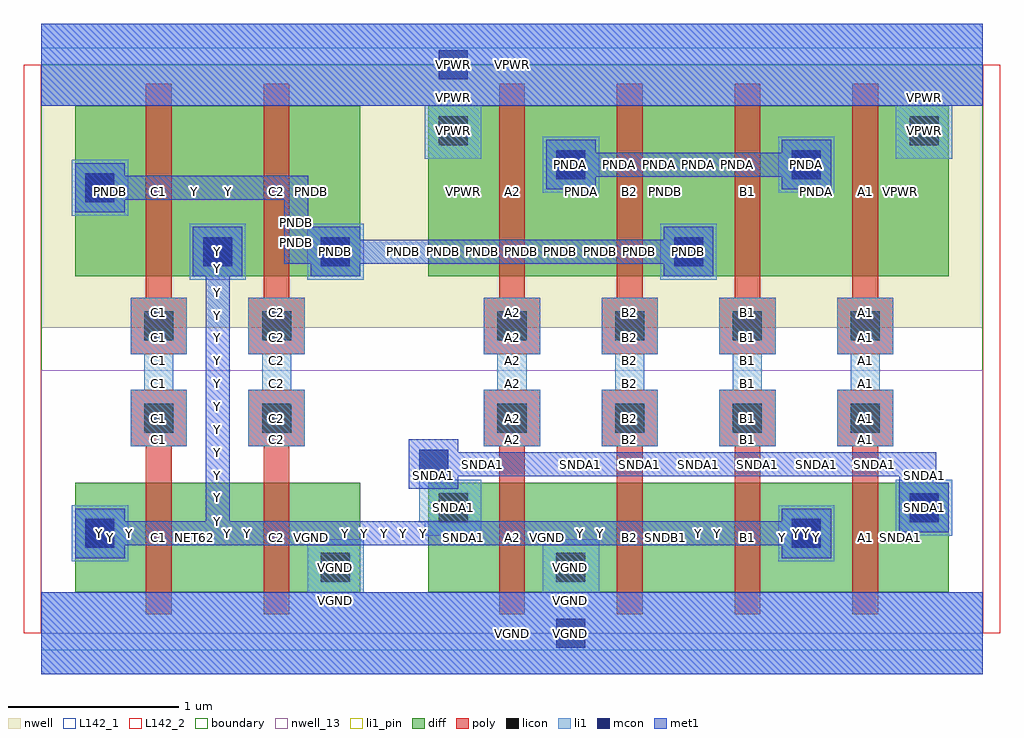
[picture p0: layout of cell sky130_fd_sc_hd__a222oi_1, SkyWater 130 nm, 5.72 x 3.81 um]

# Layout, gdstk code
import gdstk
lib = gdstk.Library(unit=1e-6, precision=1e-09)
def R(c, l, rs):  # rectangles x0, y0, x1, y1
    for r in rs: c.add(gdstk.rectangle(r[:2], r[2:], *l))
def A(c, l, x, y, w, h, nx, ny, dx, dy):  # array of equal rectangles
    R(c, l, [(x+i*dx, y+j*dy, x+i*dx+w, y+j*dy+h) for i in range(nx) for j in range(ny)])
def P(c, l, *ps):  # polygons
    for p in ps: c.add(gdstk.Polygon(p, *l))
nwell_13 = (64, 13)
nwell = (64, 20)
diff = (65, 20)
poly = (66, 20)
licon = (66, 44)
li1_pin = (67, 16)
li1 = (67, 20)
mcon = (67, 44)
met1 = (68, 20)
L142_1 = (142, 1)
L142_2 = (142, 2)
boundary = (235, 4)

sky130_fd_sc_hd__a222oi_ = lib.new_cell('sky130_fd_sc_hd__a222oi_1')
R(sky130_fd_sc_hd__a222oi_, nwell_13, [(0,0,5.52,1.54)])
R(sky130_fd_sc_hd__a222oi_, nwell, [(0,1.79,5.52,3.33)])
A(sky130_fd_sc_hd__a222oi_, diff, 2.685, 0.24, 0.69, 0.64, 3, 1, 0.69, 0)
A(sky130_fd_sc_hd__a222oi_, diff, 2.685, 2.09, 0.69, 1, 3, 1, 0.69, 0)
R(sky130_fd_sc_hd__a222oi_, diff, [(0.2,0.24,1.87,0.88), (0.2,0.24,0.615,0.88), (0.615,0.24,1.305,0.88), (1.305,0.24,1.87,0.88), (2.27,0.24,5.32,0.88), (2.27,0.24,2.685,0.88), (4.755,0.24,5.32,0.88), (0.2,2.09,1.87,3.09), (0.2,2.09,0.615,3.09), (0.615,2.09,1.305,3.09), (1.305,2.09,1.87,3.09), (2.27,2.09,5.32,3.09), (2.27,2.09,2.685,3.09), (4.755,2.09,5.32,3.09)])
P(sky130_fd_sc_hd__a222oi_, poly, [(3.375,0.11),(3.375,1.095),(3.285,1.095),(3.285,1.425),(3.615,1.425),(3.615,1.095),(3.525,1.095),(3.525,0.11)],
  [(3.285,1.635),(3.285,1.965),(3.375,1.965),(3.375,3.22),(3.525,3.22),(3.525,1.965),(3.615,1.965),(3.615,1.635)],
  [(2.685,0.11),(2.685,1.095),(2.595,1.095),(2.595,1.425),(2.925,1.425),(2.925,1.095),(2.835,1.095),(2.835,0.11)],
  [(2.595,1.635),(2.595,1.965),(2.685,1.965),(2.685,3.22),(2.835,3.22),(2.835,1.965),(2.925,1.965),(2.925,1.635)],
  [(1.305,0.11),(1.305,1.095),(1.215,1.095),(1.215,1.425),(1.545,1.425),(1.545,1.095),(1.455,1.095),(1.455,0.11)],
  [(1.215,1.635),(1.215,1.965),(1.305,1.965),(1.305,3.22),(1.455,3.22),(1.455,1.965),(1.545,1.965),(1.545,1.635)],
  [(4.755,0.11),(4.755,1.095),(4.665,1.095),(4.665,1.425),(4.995,1.425),(4.995,1.095),(4.905,1.095),(4.905,0.11)],
  [(4.665,1.635),(4.665,1.965),(4.755,1.965),(4.755,3.22),(4.905,3.22),(4.905,1.965),(4.995,1.965),(4.995,1.635)],
  [(0.615,0.11),(0.615,1.095),(0.525,1.095),(0.525,1.425),(0.855,1.425),(0.855,1.095),(0.765,1.095),(0.765,0.11)],
  [(0.525,1.635),(0.525,1.965),(0.615,1.965),(0.615,3.22),(0.765,3.22),(0.765,1.965),(0.855,1.965),(0.855,1.635)],
  [(4.065,0.11),(4.065,1.095),(3.975,1.095),(3.975,1.425),(4.305,1.425),(4.305,1.095),(4.215,1.095),(4.215,0.11)],
  [(3.975,1.635),(3.975,1.965),(4.065,1.965),(4.065,3.22),(4.215,3.22),(4.215,1.965),(4.305,1.965),(4.305,1.635)])
A(sky130_fd_sc_hd__a222oi_, licon, 2.675, 1.175, 0.17, 0.17, 4, 2, 0.69, 0.54)
R(sky130_fd_sc_hd__a222oi_, licon, [(1.64,0.3,1.81,0.47), (3.02,0.3,3.19,0.47), (0.26,0.5,0.43,0.67), (4.4,0.5,4.57,0.67), (2.33,0.65,2.5,0.82), (5.09,0.65,5.26,0.82), (0.605,1.175,0.775,1.345), (1.295,1.175,1.465,1.345), (0.605,1.715,0.775,1.885), (1.295,1.715,1.465,1.885), (0.95,2.15,1.12,2.32), (1.64,2.15,1.81,2.32), (3.71,2.15,3.88,2.32), (0.26,2.525,0.43,2.695), (3.02,2.66,3.19,2.83), (4.4,2.66,4.57,2.83), (2.33,2.86,2.5,3.03), (5.09,2.86,5.26,3.03)])
R(sky130_fd_sc_hd__a222oi_, li1_pin, [(0,-0.24,5.52,0.24), (0.18,0.42,0.51,0.75), (0,3.09,5.52,3.57)])
P(sky130_fd_sc_hd__a222oi_, li1_pin, [(3.285,1.095),(3.285,1.425),(3.365,1.425),(3.365,1.635),(3.285,1.635),(3.285,1.965),(3.615,1.965),(3.615,1.635),(3.535,1.635),(3.535,1.425),(3.615,1.425),(3.615,1.095)],
  [(2.595,1.095),(2.595,1.425),(2.675,1.425),(2.675,1.635),(2.595,1.635),(2.595,1.965),(2.925,1.965),(2.925,1.635),(2.845,1.635),(2.845,1.425),(2.925,1.425),(2.925,1.095)],
  [(4.665,1.095),(4.665,1.425),(4.745,1.425),(4.745,1.635),(4.665,1.635),(4.665,1.965),(4.995,1.965),(4.995,1.635),(4.915,1.635),(4.915,1.425),(4.995,1.425),(4.995,1.095)],
  [(0.525,1.095),(0.525,1.425),(0.605,1.425),(0.605,1.635),(0.525,1.635),(0.525,1.965),(0.855,1.965),(0.855,1.635),(0.775,1.635),(0.775,1.425),(0.855,1.425),(0.855,1.095)],
  [(3.975,1.095),(3.975,1.425),(4.055,1.425),(4.055,1.635),(3.975,1.635),(3.975,1.965),(4.305,1.965),(4.305,1.635),(4.225,1.635),(4.225,1.425),(4.305,1.425),(4.305,1.095)],
  [(1.215,1.095),(1.215,1.425),(1.295,1.425),(1.295,1.635),(1.215,1.635),(1.215,1.965),(1.545,1.965),(1.545,1.635),(1.465,1.635),(1.465,1.425),(1.545,1.425),(1.545,1.095)])
R(sky130_fd_sc_hd__a222oi_, li1, [(0.18,0.42,0.51,0.75), (4.32,0.42,4.65,0.75), (5.01,0.57,5.34,0.9), (0.87,2.07,1.2,2.4), (1.56,2.07,1.89,2.4), (3.63,2.07,3.96,2.4), (0.18,2.445,0.51,2.775), (2.94,2.58,3.27,2.91), (4.32,2.58,4.65,2.91)])
P(sky130_fd_sc_hd__a222oi_, li1, [(3.285,1.095),(3.285,1.425),(3.365,1.425),(3.365,1.635),(3.285,1.635),(3.285,1.965),(3.615,1.965),(3.615,1.635),(3.535,1.635),(3.535,1.425),(3.615,1.425),(3.615,1.095)],
  [(2.595,1.095),(2.595,1.425),(2.675,1.425),(2.675,1.635),(2.595,1.635),(2.595,1.965),(2.925,1.965),(2.925,1.635),(2.845,1.635),(2.845,1.425),(2.925,1.425),(2.925,1.095)],
  [(1.215,1.095),(1.215,1.425),(1.295,1.425),(1.295,1.635),(1.215,1.635),(1.215,1.965),(1.545,1.965),(1.545,1.635),(1.465,1.635),(1.465,1.425),(1.545,1.425),(1.545,1.095)],
  [(2.25,2.78),(2.25,3.09),(0,3.09),(0,3.57),(5.52,3.57),(5.52,3.09),(5.34,3.09),(5.34,2.78),(5.01,2.78),(5.01,3.09),(2.58,3.09),(2.58,2.78)],
  [(4.665,1.095),(4.665,1.425),(4.745,1.425),(4.745,1.635),(4.665,1.635),(4.665,1.965),(4.995,1.965),(4.995,1.635),(4.915,1.635),(4.915,1.425),(4.995,1.425),(4.995,1.095)],
  [(2.25,0.57),(2.25,0.65),(2.215,0.65),(2.215,1.075),(2.385,1.075),(2.385,0.9),(2.58,0.9),(2.58,0.57)],
  [(0,-0.24),(0,0.24),(1.56,0.24),(1.56,0.55),(1.89,0.55),(1.89,0.24),(2.94,0.24),(2.94,0.55),(3.27,0.55),(3.27,0.24),(5.52,0.24),(5.52,-0.24)],
  [(0.525,1.095),(0.525,1.425),(0.605,1.425),(0.605,1.635),(0.525,1.635),(0.525,1.965),(0.855,1.965),(0.855,1.635),(0.775,1.635),(0.775,1.425),(0.855,1.425),(0.855,1.095)],
  [(3.975,1.095),(3.975,1.425),(4.055,1.425),(4.055,1.635),(3.975,1.635),(3.975,1.965),(4.305,1.965),(4.305,1.635),(4.225,1.635),(4.225,1.425),(4.305,1.425),(4.305,1.095)])
R(sky130_fd_sc_hd__a222oi_, mcon, [(3.02,-0.085,3.19,0.085), (0.26,0.5,0.43,0.67), (4.4,0.5,4.57,0.67), (5.09,0.65,5.26,0.82), (2.215,0.905,2.385,1.075), (0.95,2.15,1.12,2.32), (1.64,2.15,1.81,2.32), (3.71,2.15,3.88,2.32), (0.26,2.525,0.43,2.695), (3.02,2.66,3.19,2.83), (4.4,2.66,4.57,2.83), (2.33,3.245,2.5,3.415)])
R(sky130_fd_sc_hd__a222oi_, met1, [(0,-0.24,5.52,0.24), (5.03,0.88,5.105,0.92), (1.565,2.305,1.58,2.38), (0,3.09,5.52,3.57)])
P(sky130_fd_sc_hd__a222oi_, met1, [(0.2,0.44),(0.2,0.73),(0.49,0.73),(0.49,0.655),(0.965,0.655),(0.965,2.09),(0.89,2.09),(0.89,2.38),(1.18,2.38),(1.18,2.09),(1.105,2.09),(1.105,0.655),(4.34,0.655),(4.34,0.73),(4.63,0.73),(4.63,0.44),(4.34,0.44),(4.34,0.515),(0.49,0.515),(0.49,0.44)],
  [(5.03,0.59),(5.03,0.88),(5.105,0.88),(5.105,0.92),(2.445,0.92),(2.445,0.845),(2.155,0.845),(2.155,1.135),(2.445,1.135),(2.445,1.06),(5.245,1.06),(5.245,0.88),(5.32,0.88),(5.32,0.59)],
  [(1.58,2.09),(1.58,2.165),(1.425,2.165),(1.425,2.54),(0.49,2.54),(0.49,2.465),(0.2,2.465),(0.2,2.755),(0.49,2.755),(0.49,2.68),(1.565,2.68),(1.565,2.305),(1.58,2.305),(1.58,2.38),(1.87,2.38),(1.87,2.305),(3.65,2.305),(3.65,2.38),(3.94,2.38),(3.94,2.09),(3.65,2.09),(3.65,2.165),(1.87,2.165),(1.87,2.09)],
  [(2.96,2.6),(2.96,2.89),(3.25,2.89),(3.25,2.815),(4.34,2.815),(4.34,2.89),(4.63,2.89),(4.63,2.6),(4.34,2.6),(4.34,2.675),(3.25,2.675),(3.25,2.6)])
R(sky130_fd_sc_hd__a222oi_, L142_1, [(0,-0.1,5.52,0), (0,3.33,5.52,3.43)])
R(sky130_fd_sc_hd__a222oi_, L142_2, [(-0.1,0,0,3.33), (5.52,0,5.62,3.33)])
R(sky130_fd_sc_hd__a222oi_, boundary, [(0,0,5.52,3.33)])
sky130_fd_sc_hd__a222oi_.add(gdstk.Label('Y', (4.547,0.56), layer=65, texttype=20))
sky130_fd_sc_hd__a222oi_.add(gdstk.Label('SNDA1', (5.037,0.56), layer=65, texttype=20))
sky130_fd_sc_hd__a222oi_.add(gdstk.Label('Y', (0.407,0.56), layer=65, texttype=20))
sky130_fd_sc_hd__a222oi_.add(gdstk.Label('NET62', (0.897,0.56), layer=65, texttype=20))
sky130_fd_sc_hd__a222oi_.add(gdstk.Label('SNDA1', (2.477,0.56), layer=65, texttype=20))
sky130_fd_sc_hd__a222oi_.add(gdstk.Label('VGND', (2.967,0.56), layer=65, texttype=20))
sky130_fd_sc_hd__a222oi_.add(gdstk.Label('VGND', (3.167,0.56), layer=65, texttype=20))
sky130_fd_sc_hd__a222oi_.add(gdstk.Label('SNDB1', (3.657,0.56), layer=65, texttype=20))
sky130_fd_sc_hd__a222oi_.add(gdstk.Label('SNDB1', (3.857,0.56), layer=65, texttype=20))
sky130_fd_sc_hd__a222oi_.add(gdstk.Label('Y', (4.347,0.56), layer=65, texttype=20))
sky130_fd_sc_hd__a222oi_.add(gdstk.Label('NET62', (1.097,0.56), layer=65, texttype=20))
sky130_fd_sc_hd__a222oi_.add(gdstk.Label('VGND', (1.587,0.56), layer=65, texttype=20))
sky130_fd_sc_hd__a222oi_.add(gdstk.Label('Y', (4.547,0.56), layer=65, texttype=20))
sky130_fd_sc_hd__a222oi_.add(gdstk.Label('SNDA1', (5.037,0.56), layer=65, texttype=20))
sky130_fd_sc_hd__a222oi_.add(gdstk.Label('Y', (0.407,0.56), layer=65, texttype=20))
sky130_fd_sc_hd__a222oi_.add(gdstk.Label('NET62', (0.897,0.56), layer=65, texttype=20))
sky130_fd_sc_hd__a222oi_.add(gdstk.Label('SNDA1', (2.477,0.56), layer=65, texttype=20))
sky130_fd_sc_hd__a222oi_.add(gdstk.Label('VGND', (2.967,0.56), layer=65, texttype=20))
sky130_fd_sc_hd__a222oi_.add(gdstk.Label('VGND', (3.167,0.56), layer=65, texttype=20))
sky130_fd_sc_hd__a222oi_.add(gdstk.Label('SNDB1', (3.657,0.56), layer=65, texttype=20))
sky130_fd_sc_hd__a222oi_.add(gdstk.Label('SNDB1', (3.857,0.56), layer=65, texttype=20))
sky130_fd_sc_hd__a222oi_.add(gdstk.Label('Y', (4.347,0.56), layer=65, texttype=20))
sky130_fd_sc_hd__a222oi_.add(gdstk.Label('NET62', (1.097,0.56), layer=65, texttype=20))
sky130_fd_sc_hd__a222oi_.add(gdstk.Label('VGND', (1.587,0.56), layer=65, texttype=20))
sky130_fd_sc_hd__a222oi_.add(gdstk.Label('Y', (4.485,0.585), layer=65, texttype=20))
sky130_fd_sc_hd__a222oi_.add(gdstk.Label('Y', (0.345,0.585), layer=65, texttype=20))
sky130_fd_sc_hd__a222oi_.add(gdstk.Label('SNDA1', (5.175,0.735), layer=65, texttype=20))
sky130_fd_sc_hd__a222oi_.add(gdstk.Label('SNDA1', (2.415,0.735), layer=65, texttype=20))
sky130_fd_sc_hd__a222oi_.add(gdstk.Label('VGND', (3.105,0.385), layer=65, texttype=20))
sky130_fd_sc_hd__a222oi_.add(gdstk.Label('VGND', (1.725,0.385), layer=65, texttype=20))
sky130_fd_sc_hd__a222oi_.add(gdstk.Label('PNDA', (3.167,2.59), layer=65, texttype=20))
sky130_fd_sc_hd__a222oi_.add(gdstk.Label('PNDB', (3.657,2.59), layer=65, texttype=20))
sky130_fd_sc_hd__a222oi_.add(gdstk.Label('VPWR', (2.477,2.59), layer=65, texttype=20))
sky130_fd_sc_hd__a222oi_.add(gdstk.Label('PNDA', (2.967,2.59), layer=65, texttype=20))
sky130_fd_sc_hd__a222oi_.add(gdstk.Label('PNDA', (4.547,2.59), layer=65, texttype=20))
sky130_fd_sc_hd__a222oi_.add(gdstk.Label('VPWR', (5.037,2.59), layer=65, texttype=20))
sky130_fd_sc_hd__a222oi_.add(gdstk.Label('PNDB', (0.407,2.59), layer=65, texttype=20))
sky130_fd_sc_hd__a222oi_.add(gdstk.Label('Y', (0.897,2.59), layer=65, texttype=20))
sky130_fd_sc_hd__a222oi_.add(gdstk.Label('Y', (1.097,2.59), layer=65, texttype=20))
sky130_fd_sc_hd__a222oi_.add(gdstk.Label('PNDB', (1.587,2.59), layer=65, texttype=20))
sky130_fd_sc_hd__a222oi_.add(gdstk.Label('PNDB', (3.857,2.59), layer=65, texttype=20))
sky130_fd_sc_hd__a222oi_.add(gdstk.Label('PNDA', (4.347,2.59), layer=65, texttype=20))
sky130_fd_sc_hd__a222oi_.add(gdstk.Label('PNDA', (3.167,2.59), layer=65, texttype=20))
sky130_fd_sc_hd__a222oi_.add(gdstk.Label('PNDB', (3.657,2.59), layer=65, texttype=20))
sky130_fd_sc_hd__a222oi_.add(gdstk.Label('VPWR', (2.477,2.59), layer=65, texttype=20))
sky130_fd_sc_hd__a222oi_.add(gdstk.Label('PNDA', (2.967,2.59), layer=65, texttype=20))
sky130_fd_sc_hd__a222oi_.add(gdstk.Label('PNDA', (4.547,2.59), layer=65, texttype=20))
sky130_fd_sc_hd__a222oi_.add(gdstk.Label('VPWR', (5.037,2.59), layer=65, texttype=20))
sky130_fd_sc_hd__a222oi_.add(gdstk.Label('PNDB', (0.407,2.59), layer=65, texttype=20))
sky130_fd_sc_hd__a222oi_.add(gdstk.Label('Y', (0.897,2.59), layer=65, texttype=20))
sky130_fd_sc_hd__a222oi_.add(gdstk.Label('Y', (1.097,2.59), layer=65, texttype=20))
sky130_fd_sc_hd__a222oi_.add(gdstk.Label('PNDB', (1.587,2.59), layer=65, texttype=20))
sky130_fd_sc_hd__a222oi_.add(gdstk.Label('PNDB', (3.857,2.59), layer=65, texttype=20))
sky130_fd_sc_hd__a222oi_.add(gdstk.Label('PNDA', (4.347,2.59), layer=65, texttype=20))
sky130_fd_sc_hd__a222oi_.add(gdstk.Label('Y', (1.035,2.235), layer=65, texttype=20))
sky130_fd_sc_hd__a222oi_.add(gdstk.Label('PNDA', (3.105,2.745), layer=65, texttype=20))
sky130_fd_sc_hd__a222oi_.add(gdstk.Label('PNDA', (4.485,2.745), layer=65, texttype=20))
sky130_fd_sc_hd__a222oi_.add(gdstk.Label('PNDB', (3.795,2.235), layer=65, texttype=20))
sky130_fd_sc_hd__a222oi_.add(gdstk.Label('PNDB', (1.725,2.235), layer=65, texttype=20))
sky130_fd_sc_hd__a222oi_.add(gdstk.Label('PNDB', (0.345,2.61), layer=65, texttype=20))
sky130_fd_sc_hd__a222oi_.add(gdstk.Label('VPWR', (2.415,2.945), layer=65, texttype=20))
sky130_fd_sc_hd__a222oi_.add(gdstk.Label('VPWR', (5.175,2.945), layer=65, texttype=20))
sky130_fd_sc_hd__a222oi_.add(gdstk.Label('B2', (3.45,2.59), layer=66, texttype=20))
sky130_fd_sc_hd__a222oi_.add(gdstk.Label('A2', (2.76,2.59), layer=66, texttype=20))
sky130_fd_sc_hd__a222oi_.add(gdstk.Label('A1', (4.83,0.56), layer=66, texttype=20))
sky130_fd_sc_hd__a222oi_.add(gdstk.Label('C1', (0.69,0.56), layer=66, texttype=20))
sky130_fd_sc_hd__a222oi_.add(gdstk.Label('A2', (2.76,0.56), layer=66, texttype=20))
sky130_fd_sc_hd__a222oi_.add(gdstk.Label('B2', (3.45,0.56), layer=66, texttype=20))
sky130_fd_sc_hd__a222oi_.add(gdstk.Label('A1', (4.83,2.59), layer=66, texttype=20))
sky130_fd_sc_hd__a222oi_.add(gdstk.Label('C1', (0.69,2.59), layer=66, texttype=20))
sky130_fd_sc_hd__a222oi_.add(gdstk.Label('B1', (4.14,0.56), layer=66, texttype=20))
sky130_fd_sc_hd__a222oi_.add(gdstk.Label('C2', (1.38,2.59), layer=66, texttype=20))
sky130_fd_sc_hd__a222oi_.add(gdstk.Label('B1', (4.14,2.59), layer=66, texttype=20))
sky130_fd_sc_hd__a222oi_.add(gdstk.Label('C2', (1.38,0.56), layer=66, texttype=20))
sky130_fd_sc_hd__a222oi_.add(gdstk.Label('B2', (3.45,2.59), layer=66, texttype=20))
sky130_fd_sc_hd__a222oi_.add(gdstk.Label('A2', (2.76,2.59), layer=66, texttype=20))
sky130_fd_sc_hd__a222oi_.add(gdstk.Label('A1', (4.83,0.56), layer=66, texttype=20))
sky130_fd_sc_hd__a222oi_.add(gdstk.Label('C1', (0.69,0.56), layer=66, texttype=20))
sky130_fd_sc_hd__a222oi_.add(gdstk.Label('A2', (2.76,0.56), layer=66, texttype=20))
sky130_fd_sc_hd__a222oi_.add(gdstk.Label('B2', (3.45,0.56), layer=66, texttype=20))
sky130_fd_sc_hd__a222oi_.add(gdstk.Label('A1', (4.83,2.59), layer=66, texttype=20))
sky130_fd_sc_hd__a222oi_.add(gdstk.Label('C1', (0.69,2.59), layer=66, texttype=20))
sky130_fd_sc_hd__a222oi_.add(gdstk.Label('B1', (4.14,0.56), layer=66, texttype=20))
sky130_fd_sc_hd__a222oi_.add(gdstk.Label('C2', (1.38,2.59), layer=66, texttype=20))
sky130_fd_sc_hd__a222oi_.add(gdstk.Label('B1', (4.14,2.59), layer=66, texttype=20))
sky130_fd_sc_hd__a222oi_.add(gdstk.Label('C2', (1.38,0.56), layer=66, texttype=20))
sky130_fd_sc_hd__a222oi_.add(gdstk.Label('B2', (3.45,1.88), layer=66, texttype=20))
sky130_fd_sc_hd__a222oi_.add(gdstk.Label('B2', (3.45,1.135), layer=66, texttype=20))
sky130_fd_sc_hd__a222oi_.add(gdstk.Label('A2', (2.76,1.88), layer=66, texttype=20))
sky130_fd_sc_hd__a222oi_.add(gdstk.Label('A2', (2.76,1.135), layer=66, texttype=20))
sky130_fd_sc_hd__a222oi_.add(gdstk.Label('A1', (4.83,1.135), layer=66, texttype=20))
sky130_fd_sc_hd__a222oi_.add(gdstk.Label('A1', (4.83,1.88), layer=66, texttype=20))
sky130_fd_sc_hd__a222oi_.add(gdstk.Label('C1', (0.69,1.135), layer=66, texttype=20))
sky130_fd_sc_hd__a222oi_.add(gdstk.Label('C1', (0.69,1.88), layer=66, texttype=20))
sky130_fd_sc_hd__a222oi_.add(gdstk.Label('B1', (4.14,1.135), layer=66, texttype=20))
sky130_fd_sc_hd__a222oi_.add(gdstk.Label('B1', (4.14,1.88), layer=66, texttype=20))
sky130_fd_sc_hd__a222oi_.add(gdstk.Label('C2', (1.38,1.88), layer=66, texttype=20))
sky130_fd_sc_hd__a222oi_.add(gdstk.Label('C2', (1.38,1.135), layer=66, texttype=20))
sky130_fd_sc_hd__a222oi_.add(gdstk.Label('B2', (3.45,1.8), layer=66, texttype=20))
sky130_fd_sc_hd__a222oi_.add(gdstk.Label('B2', (3.45,1.26), layer=66, texttype=20))
sky130_fd_sc_hd__a222oi_.add(gdstk.Label('A2', (2.76,1.8), layer=66, texttype=20))
sky130_fd_sc_hd__a222oi_.add(gdstk.Label('A2', (2.76,1.26), layer=66, texttype=20))
sky130_fd_sc_hd__a222oi_.add(gdstk.Label('A1', (4.83,1.26), layer=66, texttype=20))
sky130_fd_sc_hd__a222oi_.add(gdstk.Label('A1', (4.83,1.8), layer=66, texttype=20))
sky130_fd_sc_hd__a222oi_.add(gdstk.Label('C1', (0.69,1.26), layer=66, texttype=20))
sky130_fd_sc_hd__a222oi_.add(gdstk.Label('C1', (0.69,1.8), layer=66, texttype=20))
sky130_fd_sc_hd__a222oi_.add(gdstk.Label('B1', (4.14,1.26), layer=66, texttype=20))
sky130_fd_sc_hd__a222oi_.add(gdstk.Label('B1', (4.14,1.8), layer=66, texttype=20))
sky130_fd_sc_hd__a222oi_.add(gdstk.Label('C2', (1.38,1.8), layer=66, texttype=20))
sky130_fd_sc_hd__a222oi_.add(gdstk.Label('C2', (1.38,1.26), layer=66, texttype=20))
sky130_fd_sc_hd__a222oi_.add(gdstk.Label('Y', (1.035,2.235), layer=66, texttype=44))
sky130_fd_sc_hd__a222oi_.add(gdstk.Label('PNDA', (3.105,2.745), layer=66, texttype=44))
sky130_fd_sc_hd__a222oi_.add(gdstk.Label('PNDA', (4.485,2.745), layer=66, texttype=44))
sky130_fd_sc_hd__a222oi_.add(gdstk.Label('PNDB', (3.795,2.235), layer=66, texttype=44))
sky130_fd_sc_hd__a222oi_.add(gdstk.Label('PNDB', (1.725,2.235), layer=66, texttype=44))
sky130_fd_sc_hd__a222oi_.add(gdstk.Label('PNDB', (0.345,2.61), layer=66, texttype=44))
sky130_fd_sc_hd__a222oi_.add(gdstk.Label('VPWR', (2.415,2.945), layer=66, texttype=44))
sky130_fd_sc_hd__a222oi_.add(gdstk.Label('VPWR', (5.175,2.945), layer=66, texttype=44))
sky130_fd_sc_hd__a222oi_.add(gdstk.Label('Y', (4.485,0.585), layer=66, texttype=44))
sky130_fd_sc_hd__a222oi_.add(gdstk.Label('Y', (0.345,0.585), layer=66, texttype=44))
sky130_fd_sc_hd__a222oi_.add(gdstk.Label('SNDA1', (5.175,0.735), layer=66, texttype=44))
sky130_fd_sc_hd__a222oi_.add(gdstk.Label('SNDA1', (2.415,0.735), layer=66, texttype=44))
sky130_fd_sc_hd__a222oi_.add(gdstk.Label('VGND', (3.105,0.385), layer=66, texttype=44))
sky130_fd_sc_hd__a222oi_.add(gdstk.Label('VGND', (1.725,0.385), layer=66, texttype=44))
sky130_fd_sc_hd__a222oi_.add(gdstk.Label('B2', (3.45,1.8), layer=66, texttype=44))
sky130_fd_sc_hd__a222oi_.add(gdstk.Label('B2', (3.45,1.26), layer=66, texttype=44))
sky130_fd_sc_hd__a222oi_.add(gdstk.Label('A2', (2.76,1.8), layer=66, texttype=44))
sky130_fd_sc_hd__a222oi_.add(gdstk.Label('A2', (2.76,1.26), layer=66, texttype=44))
sky130_fd_sc_hd__a222oi_.add(gdstk.Label('A1', (4.83,1.26), layer=66, texttype=44))
sky130_fd_sc_hd__a222oi_.add(gdstk.Label('A1', (4.83,1.8), layer=66, texttype=44))
sky130_fd_sc_hd__a222oi_.add(gdstk.Label('C1', (0.69,1.26), layer=66, texttype=44))
sky130_fd_sc_hd__a222oi_.add(gdstk.Label('C1', (0.69,1.8), layer=66, texttype=44))
sky130_fd_sc_hd__a222oi_.add(gdstk.Label('B1', (4.14,1.26), layer=66, texttype=44))
sky130_fd_sc_hd__a222oi_.add(gdstk.Label('B1', (4.14,1.8), layer=66, texttype=44))
sky130_fd_sc_hd__a222oi_.add(gdstk.Label('C2', (1.38,1.8), layer=66, texttype=44))
sky130_fd_sc_hd__a222oi_.add(gdstk.Label('C2', (1.38,1.26), layer=66, texttype=44))
sky130_fd_sc_hd__a222oi_.add(gdstk.Label('VPWR', (2.76,3.33), layer=67, texttype=20))
sky130_fd_sc_hd__a222oi_.add(gdstk.Label('VGND', (2.76,0), layer=67, texttype=20))
sky130_fd_sc_hd__a222oi_.add(gdstk.Label('VPWR', (2.76,3.33), layer=67, texttype=20))
sky130_fd_sc_hd__a222oi_.add(gdstk.Label('VGND', (2.76,0), layer=67, texttype=20))
sky130_fd_sc_hd__a222oi_.add(gdstk.Label('SNDA1', (2.3,0.922), layer=67, texttype=20))
sky130_fd_sc_hd__a222oi_.add(gdstk.Label('SNDA1', (2.3,0.795), layer=67, texttype=20))
sky130_fd_sc_hd__a222oi_.add(gdstk.Label('SNDA1', (2.357,0.735), layer=67, texttype=20))
sky130_fd_sc_hd__a222oi_.add(gdstk.Label('VGND', (3.105,0.192), layer=67, texttype=20))
sky130_fd_sc_hd__a222oi_.add(gdstk.Label('VGND', (1.725,0.192), layer=67, texttype=20))
sky130_fd_sc_hd__a222oi_.add(gdstk.Label('VPWR', (2.415,3.137), layer=67, texttype=20))
sky130_fd_sc_hd__a222oi_.add(gdstk.Label('VPWR', (5.175,3.137), layer=67, texttype=20))
sky130_fd_sc_hd__a222oi_.add(gdstk.Label('B2', (3.45,1.732), layer=67, texttype=20))
sky130_fd_sc_hd__a222oi_.add(gdstk.Label('B2', (3.45,1.597), layer=67, texttype=20))
sky130_fd_sc_hd__a222oi_.add(gdstk.Label('B2', (3.45,1.462), layer=67, texttype=20))
sky130_fd_sc_hd__a222oi_.add(gdstk.Label('B2', (3.45,1.327), layer=67, texttype=20))
sky130_fd_sc_hd__a222oi_.add(gdstk.Label('A2', (2.76,1.732), layer=67, texttype=20))
sky130_fd_sc_hd__a222oi_.add(gdstk.Label('A2', (2.76,1.597), layer=67, texttype=20))
sky130_fd_sc_hd__a222oi_.add(gdstk.Label('A2', (2.76,1.462), layer=67, texttype=20))
sky130_fd_sc_hd__a222oi_.add(gdstk.Label('A2', (2.76,1.327), layer=67, texttype=20))
sky130_fd_sc_hd__a222oi_.add(gdstk.Label('A1', (4.83,1.327), layer=67, texttype=20))
sky130_fd_sc_hd__a222oi_.add(gdstk.Label('A1', (4.83,1.462), layer=67, texttype=20))
sky130_fd_sc_hd__a222oi_.add(gdstk.Label('A1', (4.83,1.597), layer=67, texttype=20))
sky130_fd_sc_hd__a222oi_.add(gdstk.Label('A1', (4.83,1.732), layer=67, texttype=20))
sky130_fd_sc_hd__a222oi_.add(gdstk.Label('C1', (0.69,1.327), layer=67, texttype=20))
sky130_fd_sc_hd__a222oi_.add(gdstk.Label('C1', (0.69,1.462), layer=67, texttype=20))
sky130_fd_sc_hd__a222oi_.add(gdstk.Label('C1', (0.69,1.597), layer=67, texttype=20))
sky130_fd_sc_hd__a222oi_.add(gdstk.Label('C1', (0.69,1.732), layer=67, texttype=20))
sky130_fd_sc_hd__a222oi_.add(gdstk.Label('B1', (4.14,1.327), layer=67, texttype=20))
sky130_fd_sc_hd__a222oi_.add(gdstk.Label('B1', (4.14,1.462), layer=67, texttype=20))
sky130_fd_sc_hd__a222oi_.add(gdstk.Label('B1', (4.14,1.597), layer=67, texttype=20))
sky130_fd_sc_hd__a222oi_.add(gdstk.Label('B1', (4.14,1.732), layer=67, texttype=20))
sky130_fd_sc_hd__a222oi_.add(gdstk.Label('C2', (1.38,1.732), layer=67, texttype=20))
sky130_fd_sc_hd__a222oi_.add(gdstk.Label('C2', (1.38,1.597), layer=67, texttype=20))
sky130_fd_sc_hd__a222oi_.add(gdstk.Label('C2', (1.38,1.462), layer=67, texttype=20))
sky130_fd_sc_hd__a222oi_.add(gdstk.Label('C2', (1.38,1.327), layer=67, texttype=20))
sky130_fd_sc_hd__a222oi_.add(gdstk.Label('Y', (4.485,0.585), layer=67, texttype=20))
sky130_fd_sc_hd__a222oi_.add(gdstk.Label('Y', (4.485,0.585), layer=67, texttype=20))
sky130_fd_sc_hd__a222oi_.add(gdstk.Label('Y', (0.345,0.585), layer=67, texttype=20))
sky130_fd_sc_hd__a222oi_.add(gdstk.Label('Y', (0.345,0.585), layer=67, texttype=20))
sky130_fd_sc_hd__a222oi_.add(gdstk.Label('Y', (1.035,2.235), layer=67, texttype=20))
sky130_fd_sc_hd__a222oi_.add(gdstk.Label('Y', (1.035,2.235), layer=67, texttype=20))
sky130_fd_sc_hd__a222oi_.add(gdstk.Label('SNDA1', (5.175,0.735), layer=67, texttype=20))
sky130_fd_sc_hd__a222oi_.add(gdstk.Label('SNDA1', (5.175,0.735), layer=67, texttype=20))
sky130_fd_sc_hd__a222oi_.add(gdstk.Label('SNDA1', (2.3,0.99), layer=67, texttype=20))
sky130_fd_sc_hd__a222oi_.add(gdstk.Label('SNDA1', (2.415,0.735), layer=67, texttype=20))
sky130_fd_sc_hd__a222oi_.add(gdstk.Label('VGND', (3.105,0.385), layer=67, texttype=20))
sky130_fd_sc_hd__a222oi_.add(gdstk.Label('VGND', (3.105,0), layer=67, texttype=20))
sky130_fd_sc_hd__a222oi_.add(gdstk.Label('VGND', (1.725,0.385), layer=67, texttype=20))
sky130_fd_sc_hd__a222oi_.add(gdstk.Label('PNDA', (3.105,2.745), layer=67, texttype=20))
sky130_fd_sc_hd__a222oi_.add(gdstk.Label('PNDA', (3.105,2.745), layer=67, texttype=20))
sky130_fd_sc_hd__a222oi_.add(gdstk.Label('PNDA', (4.485,2.745), layer=67, texttype=20))
sky130_fd_sc_hd__a222oi_.add(gdstk.Label('PNDA', (4.485,2.745), layer=67, texttype=20))
sky130_fd_sc_hd__a222oi_.add(gdstk.Label('PNDB', (3.795,2.235), layer=67, texttype=20))
sky130_fd_sc_hd__a222oi_.add(gdstk.Label('PNDB', (3.795,2.235), layer=67, texttype=20))
sky130_fd_sc_hd__a222oi_.add(gdstk.Label('PNDB', (1.725,2.235), layer=67, texttype=20))
sky130_fd_sc_hd__a222oi_.add(gdstk.Label('PNDB', (1.725,2.235), layer=67, texttype=20))
sky130_fd_sc_hd__a222oi_.add(gdstk.Label('PNDB', (0.345,2.61), layer=67, texttype=20))
sky130_fd_sc_hd__a222oi_.add(gdstk.Label('PNDB', (0.345,2.61), layer=67, texttype=20))
sky130_fd_sc_hd__a222oi_.add(gdstk.Label('VPWR', (2.415,2.945), layer=67, texttype=20))
sky130_fd_sc_hd__a222oi_.add(gdstk.Label('VPWR', (2.415,3.33), layer=67, texttype=20))
sky130_fd_sc_hd__a222oi_.add(gdstk.Label('VPWR', (5.175,2.945), layer=67, texttype=20))
sky130_fd_sc_hd__a222oi_.add(gdstk.Label('B2', (3.45,1.8), layer=67, texttype=20))
sky130_fd_sc_hd__a222oi_.add(gdstk.Label('B2', (3.45,1.26), layer=67, texttype=20))
sky130_fd_sc_hd__a222oi_.add(gdstk.Label('A2', (2.76,1.8), layer=67, texttype=20))
sky130_fd_sc_hd__a222oi_.add(gdstk.Label('A2', (2.76,1.26), layer=67, texttype=20))
sky130_fd_sc_hd__a222oi_.add(gdstk.Label('A1', (4.83,1.26), layer=67, texttype=20))
sky130_fd_sc_hd__a222oi_.add(gdstk.Label('A1', (4.83,1.8), layer=67, texttype=20))
sky130_fd_sc_hd__a222oi_.add(gdstk.Label('C1', (0.69,1.26), layer=67, texttype=20))
sky130_fd_sc_hd__a222oi_.add(gdstk.Label('C1', (0.69,1.8), layer=67, texttype=20))
sky130_fd_sc_hd__a222oi_.add(gdstk.Label('B1', (4.14,1.26), layer=67, texttype=20))
sky130_fd_sc_hd__a222oi_.add(gdstk.Label('B1', (4.14,1.8), layer=67, texttype=20))
sky130_fd_sc_hd__a222oi_.add(gdstk.Label('C2', (1.38,1.8), layer=67, texttype=20))
sky130_fd_sc_hd__a222oi_.add(gdstk.Label('C2', (1.38,1.26), layer=67, texttype=20))
sky130_fd_sc_hd__a222oi_.add(gdstk.Label('Y', (0.345,0.585), layer=67, texttype=5))
sky130_fd_sc_hd__a222oi_.add(gdstk.Label('B2', (3.45,1.26), layer=67, texttype=5))
sky130_fd_sc_hd__a222oi_.add(gdstk.Label('A2', (2.76,1.26), layer=67, texttype=5))
sky130_fd_sc_hd__a222oi_.add(gdstk.Label('A1', (4.83,1.26), layer=67, texttype=5))
sky130_fd_sc_hd__a222oi_.add(gdstk.Label('C1', (0.69,1.26), layer=67, texttype=5))
sky130_fd_sc_hd__a222oi_.add(gdstk.Label('B1', (4.14,1.26), layer=67, texttype=5))
sky130_fd_sc_hd__a222oi_.add(gdstk.Label('C2', (1.38,1.26), layer=67, texttype=5))
sky130_fd_sc_hd__a222oi_.add(gdstk.Label('VGND', (2.76,0), layer=67, texttype=5))
sky130_fd_sc_hd__a222oi_.add(gdstk.Label('VPWR', (2.76,3.33), layer=67, texttype=5))
sky130_fd_sc_hd__a222oi_.add(gdstk.Label('Y', (4.485,0.585), layer=67, texttype=44))
sky130_fd_sc_hd__a222oi_.add(gdstk.Label('Y', (0.345,0.585), layer=67, texttype=44))
sky130_fd_sc_hd__a222oi_.add(gdstk.Label('Y', (1.035,2.235), layer=67, texttype=44))
sky130_fd_sc_hd__a222oi_.add(gdstk.Label('SNDA1', (5.175,0.735), layer=67, texttype=44))
sky130_fd_sc_hd__a222oi_.add(gdstk.Label('SNDA1', (2.3,0.99), layer=67, texttype=44))
sky130_fd_sc_hd__a222oi_.add(gdstk.Label('VGND', (3.105,0), layer=67, texttype=44))
sky130_fd_sc_hd__a222oi_.add(gdstk.Label('PNDA', (3.105,2.745), layer=67, texttype=44))
sky130_fd_sc_hd__a222oi_.add(gdstk.Label('PNDA', (4.485,2.745), layer=67, texttype=44))
sky130_fd_sc_hd__a222oi_.add(gdstk.Label('PNDB', (3.795,2.235), layer=67, texttype=44))
sky130_fd_sc_hd__a222oi_.add(gdstk.Label('PNDB', (1.725,2.235), layer=67, texttype=44))
sky130_fd_sc_hd__a222oi_.add(gdstk.Label('PNDB', (0.345,2.61), layer=67, texttype=44))
sky130_fd_sc_hd__a222oi_.add(gdstk.Label('VPWR', (2.415,3.33), layer=67, texttype=44))
sky130_fd_sc_hd__a222oi_.add(gdstk.Label('PNDB', (2.817,2.235), layer=68, texttype=20))
sky130_fd_sc_hd__a222oi_.add(gdstk.Label('PNDA', (3.392,2.745), layer=68, texttype=20))
sky130_fd_sc_hd__a222oi_.add(gdstk.Label('PNDA', (3.507,2.745), layer=68, texttype=20))
sky130_fd_sc_hd__a222oi_.add(gdstk.Label('PNDA', (3.622,2.745), layer=68, texttype=20))
sky130_fd_sc_hd__a222oi_.add(gdstk.Label('PNDA', (3.737,2.745), layer=68, texttype=20))
sky130_fd_sc_hd__a222oi_.add(gdstk.Label('PNDA', (3.852,2.745), layer=68, texttype=20))
sky130_fd_sc_hd__a222oi_.add(gdstk.Label('PNDA', (3.967,2.745), layer=68, texttype=20))
sky130_fd_sc_hd__a222oi_.add(gdstk.Label('PNDA', (4.082,2.745), layer=68, texttype=20))
sky130_fd_sc_hd__a222oi_.add(gdstk.Label('PNDA', (4.197,2.745), layer=68, texttype=20))
sky130_fd_sc_hd__a222oi_.add(gdstk.Label('PNDA', (4.312,2.745), layer=68, texttype=20))
sky130_fd_sc_hd__a222oi_.add(gdstk.Label('PNDA', (4.427,2.745), layer=68, texttype=20))
sky130_fd_sc_hd__a222oi_.add(gdstk.Label('PNDB', (3.737,2.235), layer=68, texttype=20))
sky130_fd_sc_hd__a222oi_.add(gdstk.Label('PNDB', (3.622,2.235), layer=68, texttype=20))
sky130_fd_sc_hd__a222oi_.add(gdstk.Label('PNDB', (3.507,2.235), layer=68, texttype=20))
sky130_fd_sc_hd__a222oi_.add(gdstk.Label('PNDB', (3.392,2.235), layer=68, texttype=20))
sky130_fd_sc_hd__a222oi_.add(gdstk.Label('PNDB', (3.277,2.235), layer=68, texttype=20))
sky130_fd_sc_hd__a222oi_.add(gdstk.Label('PNDB', (3.162,2.235), layer=68, texttype=20))
sky130_fd_sc_hd__a222oi_.add(gdstk.Label('PNDB', (3.047,2.235), layer=68, texttype=20))
sky130_fd_sc_hd__a222oi_.add(gdstk.Label('PNDB', (2.932,2.235), layer=68, texttype=20))
sky130_fd_sc_hd__a222oi_.add(gdstk.Label('PNDA', (3.162,2.745), layer=68, texttype=20))
sky130_fd_sc_hd__a222oi_.add(gdstk.Label('PNDA', (3.277,2.745), layer=68, texttype=20))
sky130_fd_sc_hd__a222oi_.add(gdstk.Label('PNDA', (3.105,2.745), layer=68, texttype=20))
sky130_fd_sc_hd__a222oi_.add(gdstk.Label('PNDA', (4.485,2.745), layer=68, texttype=20))
sky130_fd_sc_hd__a222oi_.add(gdstk.Label('PNDB', (3.795,2.235), layer=68, texttype=20))
sky130_fd_sc_hd__a222oi_.add(gdstk.Label('PNDB', (2.702,2.235), layer=68, texttype=20))
sky130_fd_sc_hd__a222oi_.add(gdstk.Label('Y', (1.035,1.862), layer=68, texttype=20))
sky130_fd_sc_hd__a222oi_.add(gdstk.Label('Y', (1.035,1.997), layer=68, texttype=20))
sky130_fd_sc_hd__a222oi_.add(gdstk.Label('Y', (1.035,2.137), layer=68, texttype=20))
sky130_fd_sc_hd__a222oi_.add(gdstk.Label('Y', (1.035,2.22), layer=68, texttype=20))
sky130_fd_sc_hd__a222oi_.add(gdstk.Label('PNDB', (2.587,2.235), layer=68, texttype=20))
sky130_fd_sc_hd__a222oi_.add(gdstk.Label('PNDB', (2.472,2.235), layer=68, texttype=20))
sky130_fd_sc_hd__a222oi_.add(gdstk.Label('PNDB', (2.357,2.235), layer=68, texttype=20))
sky130_fd_sc_hd__a222oi_.add(gdstk.Label('PNDB', (2.242,2.235), layer=68, texttype=20))
sky130_fd_sc_hd__a222oi_.add(gdstk.Label('PNDB', (2.127,2.235), layer=68, texttype=20))
sky130_fd_sc_hd__a222oi_.add(gdstk.Label('PNDB', (2.012,2.235), layer=68, texttype=20))
sky130_fd_sc_hd__a222oi_.add(gdstk.Label('PNDB', (1.897,2.235), layer=68, texttype=20))
sky130_fd_sc_hd__a222oi_.add(gdstk.Label('PNDB', (1.782,2.235), layer=68, texttype=20))
sky130_fd_sc_hd__a222oi_.add(gdstk.Label('PNDB', (1.667,2.235), layer=68, texttype=20))
sky130_fd_sc_hd__a222oi_.add(gdstk.Label('PNDB', (1.552,2.235), layer=68, texttype=20))
sky130_fd_sc_hd__a222oi_.add(gdstk.Label('PNDB', (1.495,2.287), layer=68, texttype=20))
sky130_fd_sc_hd__a222oi_.add(gdstk.Label('PNDB', (1.495,2.407), layer=68, texttype=20))
sky130_fd_sc_hd__a222oi_.add(gdstk.Label('PNDB', (1.495,2.542), layer=68, texttype=20))
sky130_fd_sc_hd__a222oi_.add(gdstk.Label('PNDB', (1.437,2.61), layer=68, texttype=20))
sky130_fd_sc_hd__a222oi_.add(gdstk.Label('PNDB', (1.322,2.61), layer=68, texttype=20))
sky130_fd_sc_hd__a222oi_.add(gdstk.Label('PNDB', (1.207,2.61), layer=68, texttype=20))
sky130_fd_sc_hd__a222oi_.add(gdstk.Label('PNDB', (1.092,2.61), layer=68, texttype=20))
sky130_fd_sc_hd__a222oi_.add(gdstk.Label('PNDB', (0.977,2.61), layer=68, texttype=20))
sky130_fd_sc_hd__a222oi_.add(gdstk.Label('PNDB', (0.862,2.61), layer=68, texttype=20))
sky130_fd_sc_hd__a222oi_.add(gdstk.Label('PNDB', (0.747,2.61), layer=68, texttype=20))
sky130_fd_sc_hd__a222oi_.add(gdstk.Label('PNDB', (0.632,2.61), layer=68, texttype=20))
sky130_fd_sc_hd__a222oi_.add(gdstk.Label('PNDB', (0.517,2.61), layer=68, texttype=20))
sky130_fd_sc_hd__a222oi_.add(gdstk.Label('PNDB', (0.402,2.61), layer=68, texttype=20))
sky130_fd_sc_hd__a222oi_.add(gdstk.Label('Y', (1.035,2.235), layer=68, texttype=20))
sky130_fd_sc_hd__a222oi_.add(gdstk.Label('VPWR', (2.76,3.33), layer=68, texttype=20))
sky130_fd_sc_hd__a222oi_.add(gdstk.Label('Y', (1.035,1.732), layer=68, texttype=20))
sky130_fd_sc_hd__a222oi_.add(gdstk.Label('VPWR', (2.76,3.33), layer=68, texttype=20))
sky130_fd_sc_hd__a222oi_.add(gdstk.Label('PNDB', (1.725,2.235), layer=68, texttype=20))
sky130_fd_sc_hd__a222oi_.add(gdstk.Label('PNDB', (0.345,2.61), layer=68, texttype=20))
sky130_fd_sc_hd__a222oi_.add(gdstk.Label('VPWR', (2.415,3.33), layer=68, texttype=20))
sky130_fd_sc_hd__a222oi_.add(gdstk.Label('Y', (1.035,1.057), layer=68, texttype=20))
sky130_fd_sc_hd__a222oi_.add(gdstk.Label('Y', (1.035,1.192), layer=68, texttype=20))
sky130_fd_sc_hd__a222oi_.add(gdstk.Label('Y', (1.035,1.327), layer=68, texttype=20))
sky130_fd_sc_hd__a222oi_.add(gdstk.Label('Y', (1.035,1.462), layer=68, texttype=20))
sky130_fd_sc_hd__a222oi_.add(gdstk.Label('Y', (2.587,0.585), layer=68, texttype=20))
sky130_fd_sc_hd__a222oi_.add(gdstk.Label('Y', (2.472,0.585), layer=68, texttype=20))
sky130_fd_sc_hd__a222oi_.add(gdstk.Label('Y', (2.357,0.585), layer=68, texttype=20))
sky130_fd_sc_hd__a222oi_.add(gdstk.Label('Y', (2.242,0.585), layer=68, texttype=20))
sky130_fd_sc_hd__a222oi_.add(gdstk.Label('Y', (2.127,0.585), layer=68, texttype=20))
sky130_fd_sc_hd__a222oi_.add(gdstk.Label('Y', (2.012,0.585), layer=68, texttype=20))
sky130_fd_sc_hd__a222oi_.add(gdstk.Label('Y', (1.897,0.585), layer=68, texttype=20))
sky130_fd_sc_hd__a222oi_.add(gdstk.Label('Y', (1.782,0.585), layer=68, texttype=20))
sky130_fd_sc_hd__a222oi_.add(gdstk.Label('SNDA1', (2.587,0.99), layer=68, texttype=20))
sky130_fd_sc_hd__a222oi_.add(gdstk.Label('SNDA1', (2.472,0.99), layer=68, texttype=20))
sky130_fd_sc_hd__a222oi_.add(gdstk.Label('SNDA1', (2.357,0.99), layer=68, texttype=20))
sky130_fd_sc_hd__a222oi_.add(gdstk.Label('Y', (1.667,0.585), layer=68, texttype=20))
sky130_fd_sc_hd__a222oi_.add(gdstk.Label('Y', (1.552,0.585), layer=68, texttype=20))
sky130_fd_sc_hd__a222oi_.add(gdstk.Label('Y', (1.437,0.585), layer=68, texttype=20))
sky130_fd_sc_hd__a222oi_.add(gdstk.Label('Y', (1.322,0.585), layer=68, texttype=20))
sky130_fd_sc_hd__a222oi_.add(gdstk.Label('Y', (1.207,0.585), layer=68, texttype=20))
sky130_fd_sc_hd__a222oi_.add(gdstk.Label('Y', (1.092,0.585), layer=68, texttype=20))
sky130_fd_sc_hd__a222oi_.add(gdstk.Label('Y', (0.977,0.585), layer=68, texttype=20))
sky130_fd_sc_hd__a222oi_.add(gdstk.Label('Y', (1.035,0.652), layer=68, texttype=20))
sky130_fd_sc_hd__a222oi_.add(gdstk.Label('Y', (0.862,0.585), layer=68, texttype=20))
sky130_fd_sc_hd__a222oi_.add(gdstk.Label('Y', (0.747,0.585), layer=68, texttype=20))
sky130_fd_sc_hd__a222oi_.add(gdstk.Label('Y', (0.632,0.585), layer=68, texttype=20))
sky130_fd_sc_hd__a222oi_.add(gdstk.Label('Y', (0.517,0.585), layer=68, texttype=20))
sky130_fd_sc_hd__a222oi_.add(gdstk.Label('Y', (0.402,0.585), layer=68, texttype=20))
sky130_fd_sc_hd__a222oi_.add(gdstk.Label('Y', (1.035,0.727), layer=68, texttype=20))
sky130_fd_sc_hd__a222oi_.add(gdstk.Label('Y', (0.345,0.585), layer=68, texttype=20))
sky130_fd_sc_hd__a222oi_.add(gdstk.Label('SNDA1', (2.702,0.99), layer=68, texttype=20))
sky130_fd_sc_hd__a222oi_.add(gdstk.Label('SNDA1', (2.3,0.99), layer=68, texttype=20))
sky130_fd_sc_hd__a222oi_.add(gdstk.Label('VGND', (2.76,0), layer=68, texttype=20))
sky130_fd_sc_hd__a222oi_.add(gdstk.Label('Y', (2.702,0.585), layer=68, texttype=20))
sky130_fd_sc_hd__a222oi_.add(gdstk.Label('Y', (1.035,1.597), layer=68, texttype=20))
sky130_fd_sc_hd__a222oi_.add(gdstk.Label('VGND', (2.76,0), layer=68, texttype=20))
sky130_fd_sc_hd__a222oi_.add(gdstk.Label('Y', (1.035,0.795), layer=68, texttype=20))
sky130_fd_sc_hd__a222oi_.add(gdstk.Label('Y', (1.035,0.922), layer=68, texttype=20))
sky130_fd_sc_hd__a222oi_.add(gdstk.Label('SNDA1', (4.542,0.99), layer=68, texttype=20))
sky130_fd_sc_hd__a222oi_.add(gdstk.Label('SNDA1', (4.427,0.99), layer=68, texttype=20))
sky130_fd_sc_hd__a222oi_.add(gdstk.Label('SNDA1', (4.312,0.99), layer=68, texttype=20))
sky130_fd_sc_hd__a222oi_.add(gdstk.Label('SNDA1', (4.197,0.99), layer=68, texttype=20))
sky130_fd_sc_hd__a222oi_.add(gdstk.Label('SNDA1', (4.082,0.99), layer=68, texttype=20))
sky130_fd_sc_hd__a222oi_.add(gdstk.Label('SNDA1', (3.967,0.99), layer=68, texttype=20))
sky130_fd_sc_hd__a222oi_.add(gdstk.Label('SNDA1', (3.852,0.99), layer=68, texttype=20))
sky130_fd_sc_hd__a222oi_.add(gdstk.Label('SNDA1', (3.737,0.99), layer=68, texttype=20))
sky130_fd_sc_hd__a222oi_.add(gdstk.Label('SNDA1', (3.622,0.99), layer=68, texttype=20))
sky130_fd_sc_hd__a222oi_.add(gdstk.Label('SNDA1', (3.507,0.99), layer=68, texttype=20))
sky130_fd_sc_hd__a222oi_.add(gdstk.Label('SNDA1', (3.392,0.99), layer=68, texttype=20))
sky130_fd_sc_hd__a222oi_.add(gdstk.Label('SNDA1', (3.277,0.99), layer=68, texttype=20))
sky130_fd_sc_hd__a222oi_.add(gdstk.Label('SNDA1', (3.162,0.99), layer=68, texttype=20))
sky130_fd_sc_hd__a222oi_.add(gdstk.Label('SNDA1', (3.047,0.99), layer=68, texttype=20))
sky130_fd_sc_hd__a222oi_.add(gdstk.Label('SNDA1', (2.932,0.99), layer=68, texttype=20))
sky130_fd_sc_hd__a222oi_.add(gdstk.Label('Y', (3.507,0.585), layer=68, texttype=20))
sky130_fd_sc_hd__a222oi_.add(gdstk.Label('Y', (3.392,0.585), layer=68, texttype=20))
sky130_fd_sc_hd__a222oi_.add(gdstk.Label('Y', (3.277,0.585), layer=68, texttype=20))
sky130_fd_sc_hd__a222oi_.add(gdstk.Label('Y', (3.162,0.585), layer=68, texttype=20))
sky130_fd_sc_hd__a222oi_.add(gdstk.Label('Y', (3.047,0.585), layer=68, texttype=20))
sky130_fd_sc_hd__a222oi_.add(gdstk.Label('Y', (2.932,0.585), layer=68, texttype=20))
sky130_fd_sc_hd__a222oi_.add(gdstk.Label('Y', (4.427,0.585), layer=68, texttype=20))
sky130_fd_sc_hd__a222oi_.add(gdstk.Label('Y', (4.312,0.585), layer=68, texttype=20))
sky130_fd_sc_hd__a222oi_.add(gdstk.Label('Y', (4.197,0.585), layer=68, texttype=20))
sky130_fd_sc_hd__a222oi_.add(gdstk.Label('Y', (4.082,0.585), layer=68, texttype=20))
sky130_fd_sc_hd__a222oi_.add(gdstk.Label('Y', (3.967,0.585), layer=68, texttype=20))
sky130_fd_sc_hd__a222oi_.add(gdstk.Label('Y', (3.852,0.585), layer=68, texttype=20))
sky130_fd_sc_hd__a222oi_.add(gdstk.Label('Y', (3.737,0.585), layer=68, texttype=20))
sky130_fd_sc_hd__a222oi_.add(gdstk.Label('Y', (3.622,0.585), layer=68, texttype=20))
sky130_fd_sc_hd__a222oi_.add(gdstk.Label('Y', (4.485,0.585), layer=68, texttype=20))
sky130_fd_sc_hd__a222oi_.add(gdstk.Label('SNDA1', (2.817,0.99), layer=68, texttype=20))
sky130_fd_sc_hd__a222oi_.add(gdstk.Label('Y', (2.817,0.585), layer=68, texttype=20))
sky130_fd_sc_hd__a222oi_.add(gdstk.Label('SNDA1', (5.175,0.735), layer=68, texttype=20))
sky130_fd_sc_hd__a222oi_.add(gdstk.Label('SNDA1', (5.175,0.795), layer=68, texttype=20))
sky130_fd_sc_hd__a222oi_.add(gdstk.Label('VGND', (3.105,0), layer=68, texttype=20))
sky130_fd_sc_hd__a222oi_.add(gdstk.Label('SNDA1', (5.175,0.922), layer=68, texttype=20))
sky130_fd_sc_hd__a222oi_.add(gdstk.Label('SNDA1', (5.117,0.99), layer=68, texttype=20))
sky130_fd_sc_hd__a222oi_.add(gdstk.Label('SNDA1', (5.002,0.99), layer=68, texttype=20))
sky130_fd_sc_hd__a222oi_.add(gdstk.Label('SNDA1', (4.887,0.99), layer=68, texttype=20))
sky130_fd_sc_hd__a222oi_.add(gdstk.Label('SNDA1', (4.772,0.99), layer=68, texttype=20))
sky130_fd_sc_hd__a222oi_.add(gdstk.Label('SNDA1', (4.657,0.99), layer=68, texttype=20))
sky130_fd_sc_hd__a222oi_.add(gdstk.Label('VGND', (2.76,0), layer=68, texttype=5))
sky130_fd_sc_hd__a222oi_.add(gdstk.Label('VPWR', (2.76,3.33), layer=68, texttype=5))

lib.write_gds('sky130_fd_sc_hd__a222oi_1.gds')
